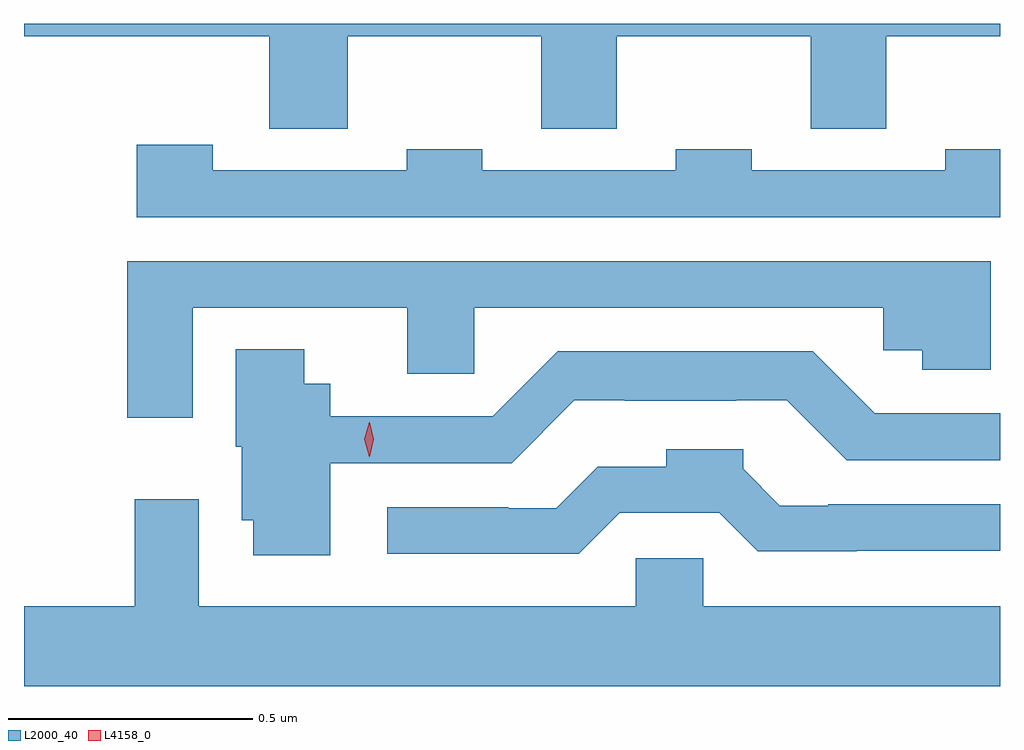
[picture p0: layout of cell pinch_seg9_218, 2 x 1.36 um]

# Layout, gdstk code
import gdstk
lib = gdstk.Library(unit=1e-6, precision=1e-09)
def P(c, l, *ps):  # polygons
    for p in ps: c.add(gdstk.Polygon(p, *l))
L2000_40 = (2000, 40)
L4158_0 = (4158, 0)

pinch_seg9_218 = lib.new_cell('pinch_seg9_218')
P(pinch_seg9_218, L2000_40, [(617.349,1241.708),(617.746,1241.708),(617.746,1241.518),(617.901,1241.518),(617.901,1241.708),(618.298,1241.708),(618.298,1241.518),(618.453,1241.518),(618.453,1241.708),(618.686,1241.708),(618.686,1241.733),(616.686,1241.733),(616.686,1241.708),(617.189,1241.708),(617.189,1241.518),(617.349,1241.518)],
  [(618.686,1241.476),(618.574,1241.476),(618.574,1241.433),(618.177,1241.433),(618.177,1241.476),(618.022,1241.476),(618.022,1241.433),(617.625,1241.433),(617.625,1241.476),(617.47,1241.476),(617.47,1241.433),(617.073,1241.433),(617.073,1241.485),(616.917,1241.485),(616.917,1241.337),(618.686,1241.337)],
  [(617.032,1241.151),(617.471,1241.151),(617.471,1241.016),(617.609,1241.016),(617.609,1241.151),(618.447,1241.151),(618.447,1241.064),(618.527,1241.064),(618.527,1241.024),(618.667,1241.024),(618.667,1241.247),(616.898,1241.247),(616.898,1240.926),(617.032,1240.926)],
  [(617.314,1240.833),(617.685,1240.833),(617.814,1240.962),(617.917,1240.962),(617.917,1240.961),(618.146,1240.961),(618.146,1240.962),(618.249,1240.962),(618.372,1240.839),(618.686,1240.839),(618.686,1240.935),(618.429,1240.935),(618.302,1241.062),(617.78,1241.062),(617.647,1240.929),(617.314,1240.929),(617.314,1240.996),(617.26,1240.996),(617.26,1241.066),(617.12,1241.066),(617.12,1240.866),(617.132,1240.866),(617.132,1240.716),(617.156,1240.716),(617.156,1240.644),(617.314,1240.644)],
  [(617.907,1240.731),(618.111,1240.731),(618.19,1240.652),(618.392,1240.652),(618.392,1240.653),(618.686,1240.653),(618.686,1240.749),(618.334,1240.749),(618.334,1240.746),(618.235,1240.746),(618.16,1240.821),(618.16,1240.861),(618.002,1240.861),(618.002,1240.826),(617.862,1240.826),(617.777,1240.74),(617.678,1240.74),(617.678,1240.743),(617.43,1240.743),(617.43,1240.647),(617.823,1240.647)],
  [(618.686,1240.54),(618.078,1240.54),(618.078,1240.638),(617.94,1240.638),(617.94,1240.54),(617.044,1240.54),(617.044,1240.759),(616.913,1240.759),(616.913,1240.54),(616.686,1240.54),(616.686,1240.376),(618.686,1240.376)])
P(pinch_seg9_218, L4158_0, [(617.393,1240.846),(617.393,1240.846),(617.383,1240.882),(617.393,1240.917),(617.393,1240.917),(617.394,1240.917),(617.403,1240.882),(617.394,1240.846)])

lib.write_gds('pinch_seg9_218.gds')
